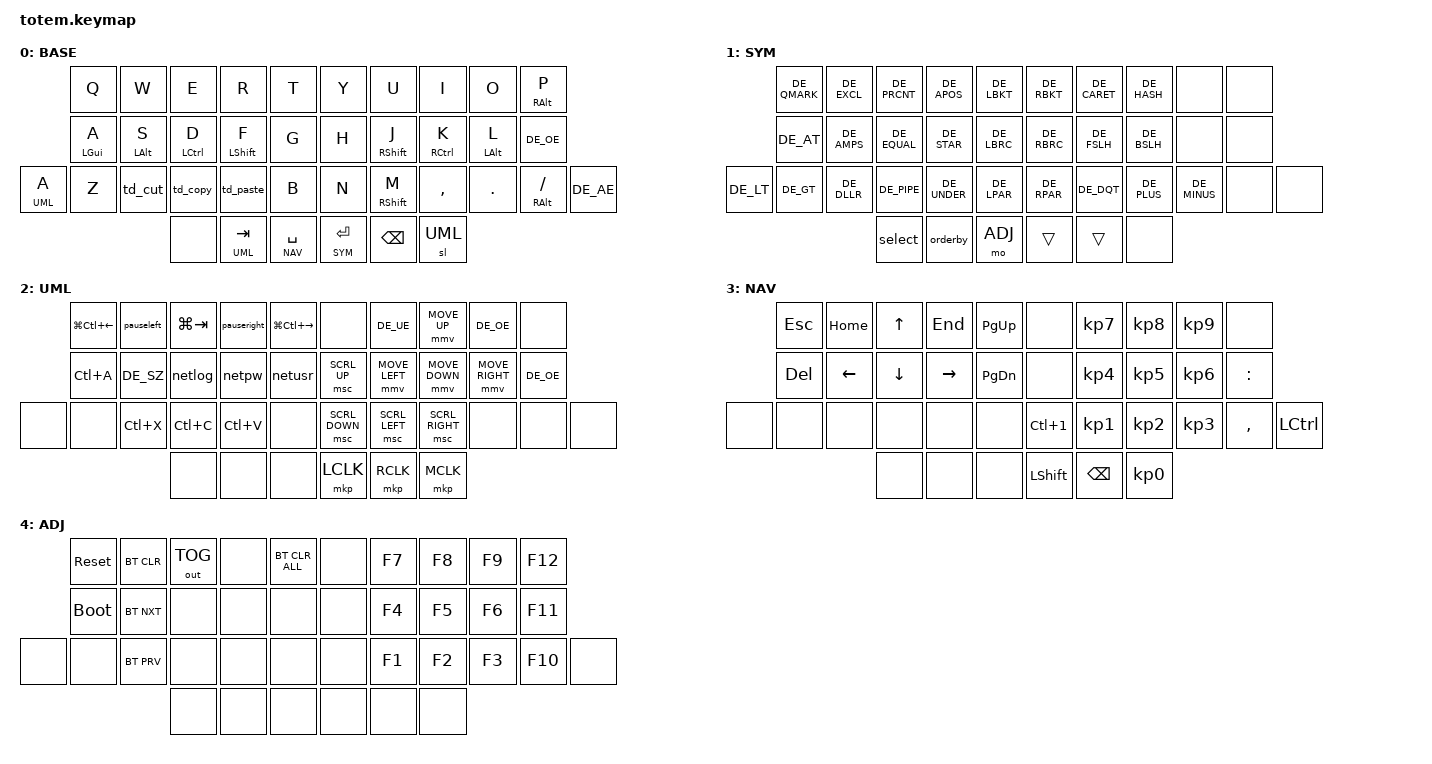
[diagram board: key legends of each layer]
//
//                                                        ▀▀▀▀▀     ▀▀▀▀▀          ▀▀█▀▀
//                                                        ▄▀▀▀▄  ▄  ▄▀▀▀▄  ▄  ▄▀▀▀▄  █  ▄▀▀▀▄
//                                                        █   █  █  █   █  █  █   █  █  █   █
//                                                         ▀▀▀   █   ▀▀▀   █   ▀▀▀   ▀   ▀▀▀
//                                                               █      ▄▄▄█▄▄▄    █   █  
//                                                               ▀      █  █  █     █▄█
//                                                             ▀▀▀▀▀    █  █  █      ▀
//                                                                      ▀  ▀  ▀
//
// ▄▄▄▄▄▄▄▄▄▄▄▄▄▄▄▄▄▄▄▄▄▄▄▄▄▄▄▄▄▄▄▄▄▄▄▄▄▄▄▄▄▄▄▄▄▄▄▄▄▄▄▄▄▄▄▄▄▄▄▄▄▄▄▄▄▄▄▄▄▄▄▄▄▄▄▄▄▄▄▄▄▄▄▄▄▄▄▄▄▄▄▄▄▄▄▄▄▄▄▄▄▄▄▄▄▄▄▄▄▄▄▄▄▄▄▄▄▄▄▄▄▄▄▄▄▄▄▄▄▄▄▄▄▄▄▄▄▄▄▄▄▄▄▄▄▄▄▄▄
       

#include <behaviors.dtsi>
#include <dt-bindings/zmk/keys.h>
#include <dt-bindings/zmk/bt.h>
#include <dt-bindings/zmk/outputs.h>
#include "keys_de.h"
#include <dt-bindings/zmk/pointing.h>

#define BASE 0
#define SYM  1
#define UML  2
#define NAV  3
#define ADJ  4


&mt {
  quick-tap-ms = <100>;
  global-quick-tap;
  flavor = "tap-preferred";
  tapping-term-ms = <170>;
};

/ {
    combos {
            compatible = "zmk,combos";

            //ESC -> Q, W
            combo_esc {
                timeout-ms = <50>;
                key-positions = <0 1>;
                bindings = <&kp ESC>;
            };

            //ENTER -> S,D,F
            combo_enter_links {
                timeout-ms = <50>;
                key-positions = <11 12 13>;
                bindings = <&kp RET>;
            };

            //ENTER -> J,K,L
            combo_enter_rechts {
                timeout-ms = <50>;
                key-positions = <16 17 18>;
                bindings = <&kp RET>;
            };

            // ; -> , und .
            combo_semicolon {
                timeout-ms = <50>;
                key-positions = <28 29>;
                bindings = <&kp LS(COMMA)>;
            };

            // BACKSPACE -> D,F
            combo_backspace_left {
                timeout-ms = <50>;
                key-positions = <12 13>;
                bindings = <&kp BSPC>;
            };

            // BACKSPACE -> J,K
            combo_backspace_right {
                timeout-ms = <50>;
                key-positions = <16 17>;
                bindings = <&kp BSPC>;
            };           
        };

    macros {
        // "select * from"
        select: select {
            label = "select";
            compatible = "zmk,behavior-macro";
            #binding-cells = <0>;
            bindings
                = <&macro_tap &kp S &kp E &kp L &kp E &kp C &kp T>
                , <&macro_tap &kp SPACE>
                , <&macro_tap &kp DE_STAR>
                , <&macro_tap &kp SPACE>
                , <&macro_tap &kp F &kp R &kp O &kp M>
                , <&macro_tap &kp SPACE>
                ;
        };

        // "order by 1 desc"
        orderby: orderby {
            label = "orderby";
            compatible = "zmk,behavior-macro";
            #binding-cells = <0>;
            bindings
                = <&macro_tap &kp O &kp R &kp D &kp E &kp R>
                , <&macro_tap &kp SPACE>
                , <&macro_tap &kp B &kp Z>
                , <&macro_tap &kp SPACE>
                , <&macro_tap &kp N1>
                , <&macro_tap &kp SPACE>
                , <&macro_tap &kp D &kp E &kp S &kp C>
                ;
        };

        // "Netwrix Tastenkuezel fuer Passwort - STRG ALT U"
        netpw: netpw {
            label = "netpw";
            compatible = "zmk,behavior-macro";
            #binding-cells = <0>;
            bindings
                = <&macro_press &kp LCTRL>
                , <&macro_press &kp LALT>
                , <&macro_tap &kp P>
                , <&macro_release &kp LCTRL>
                , <&macro_release &kp LALT> 
                ;
        };

        // "Netwrix Tastenkuezel fuer Username - STRG ALT U"
        netusr: netusr {
            label = "neturs";
            compatible = "zmk,behavior-macro";
            #binding-cells = <0>;
            bindings
                = <&macro_press &kp LCTRL>
                , <&macro_press &kp LALT>
                , <&macro_tap &kp U>
                , <&macro_release &kp LCTRL>
                , <&macro_release &kp LALT> 
                ;
        }; 

        // "Netwrix Tastenkuezel fuer gesamtes Login - STRG ALT U"
        netlog: netlog {
            label = "netlog";
            compatible = "zmk,behavior-macro";
            #binding-cells = <0>;
            bindings
                = <&macro_press &kp LCTRL>
                , <&macro_press &kp LALT>
                , <&macro_tap &kp S>
                , <&macro_release &kp LCTRL>
                , <&macro_release &kp LALT> 
                ;
        }; 
        pauseright: pauseright {
            label = "pauseright";
            compatible = "zmk,behavior-macro";
            #binding-cells = <0>;
            bindings
                = <&macro_tap &kp LC(LA(PAUSE_BREAK))>
                , <&macro_tap &kp LG(LC(RIGHT))>
                ;
        };
        pauseleft: pauseleft {
            label = "pauseleft";
            compatible = "zmk,behavior-macro";
            #binding-cells = <0>;
            bindings
                = <&macro_tap &kp LC(LA(PAUSE_BREAK))>
                , <&macro_tap &kp LG(LC(LEFT))>
                ;
        };
    };

    behaviors {
        td_copy: tap_dance_copy {
            compatible = "zmk,behavior-tap-dance";
            #binding-cells = <0>;
            tapping-term-ms = <200>; 
            bindings = <&kp C>,      
                       <&kp LC(C)>; 
        };
        td_cut: tap_dance_cut {
            compatible = "zmk,behavior-tap-dance";
            #binding-cells = <0>;
            tapping-term-ms = <200>; 
            bindings = <&kp X>,      
                       <&kp LC(X)>; 
        };
        td_paste: tap_dance_paste {
            compatible = "zmk,behavior-tap-dance";
            #binding-cells = <0>;
            tapping-term-ms = <200>;
            bindings = <&kp V>,
                       <&kp LC(V)>;
        };
    };

    // conditional_layers {
    //     compatible = "zmk,conditional-layers";
    //     tri_layer {
    //         if-layers = <NAV SYM>;
    //         then-layer = <NAV>;
    //     };
    // };

    keymap {
        compatible = "zmk,keymap";


// ▄▄▄▄▄▄▄▄▄▄▄▄▄▄▄▄▄▄▄▄▄▄▄▄▄▄▄▄▄▄▄▄▄▄▄▄▄▄▄▄▄▄▄▄▄▄▄▄▄▄▄▄▄▄▄▄▄▄▄▄▄▄▄▄▄▄▄▄▄▄▄▄▄▄▄▄▄▄▄▄▄▄▄▄▄▄▄▄▄▄▄▄▄▄▄▄▄▄▄▄▄▄▄▄▄▄▄▄▄▄▄▄▄▄▄▄▄▄▄▄▄▄▄▄▄▄▄▄▄▄▄▄▄▄▄▄▄▄▄▄▄▄▄▄▄▄▄▄▄

                base_layer {
// ┏━━━━━━━━━━━━━━━━━━━━━━━━━━━━━━━━━━━━━━━┓
label= "BASE"                              ;
// ┗━━━━━━━━━━━━━━━━━━━━━━━━━━━━━━━━━━━━━━━┛
//             ┏━━━━━━━━━━━┳━━━━━━━━━━━┳━━━━━━━━━━━┳━━━━━━━━━━━┳━━━━━━━━━━━┓   ┏━━━━━━━━━━━┳━━━━━━━━━━━┳━━━━━━━━━━━┳━━━━━━━━━━━┳━━━━━━━━━━━┓
//             ┃     Q     ┃     W     ┃     E     ┃     R     ┃     T     ┃   ┃     Z     ┃     U     ┃     I     ┃     O     ┃     P     ┃
//             ┣━━━━━━━━━━━╋━━━━━━━━━━━╋━━━━━━━━━━━╋━━━━━━━━━━━╋━━━━━━━━━━━┫   ┣━━━━━━━━━━━╋━━━━━━━━━━━╋━━━━━━━━━━━╋━━━━━━━━━━━╋━━━━━━━━━━━┫
//             ┃     A     ┃     S     ┃     D     ┃     F     ┃     G     ┃   ┃     H     ┃     J     ┃     K     ┃     L     ┃     Ö     ┃
// ┏━━━━━━━━━━━╋━━━━━━━━━━━╋━━━━━━━━━━━╋━━━━━━━━━━━╋━━━━━━━━━━━╋━━━━━━━━━━━┫   ┣━━━━━━━━━━━╋━━━━━━━━━━━╋━━━━━━━━━━━╋━━━━━━━━━━━╋━━━━━━━━━━━╋━━━━━━━━━━━┓
// ┃           ┃     Y     ┃     X     ┃     C     ┃     V     ┃     B     ┃   ┃     N     ┃     M     ┃     ,     ┃     .     ┃     -     ┃     Ä     ┃
// ┗━━━━━━━━━━━┻━━━━━━━━━━━┻━━━━━━━━━━━╋━━━━━━━━━━━╋━━━━━━━━━━━╋━━━━━━━━━━━┫   ┣━━━━━━━━━━━╋━━━━━━━━━━━╋━━━━━━━━━━━╋━━━━━━━━━━━┻━━━━━━━━━━━┻━━━━━━━━━━━┛
//                                     ┃    TAB    ┃    TAB    ┃    SPC    ┃   ┃   ENTER   ┃   BSPC    ┃   L UML   ┃
//                                     ┗━━━━━━━━━━━┻━━━━━━━━━━━┻━━━━━━━━━━━┛   ┗━━━━━━━━━━━┻━━━━━━━━━━━┻━━━━━━━━━━━┛
 bindings = <
// ╷           ╷           ╷           ╷             ╷           ╷           ╷   ╷           ╷           ╷           ╷           ╷           ╷           ╷

                &kp Q       &kp W       &kp E        &kp R        &kp T           &kp Y       &kp U        &kp I             &kp O           &mt RALT P
                &mt LGUI A  &mt LALT S  &mt LCTRL D  &mt LSHIFT F &kp G           &kp H       &mt RSHIFT J &mt RCTRL K       &mt LALT L      &kp DE_OE 
    &lt UML A   &kp Z       &td_cut     &td_copy     &td_paste    &kp B           &kp N       &mt RSHIFT M &kp COMMA         &kp DOT         &mt RALT FSLH &kp DE_AE
                                        &none        &lt UML TAB  &lt NAV SPACE   &lt SYM RET &kp BSPC     &sl UML
                        >;
                };

// ▄▄▄▄▄▄▄▄▄▄▄▄▄▄▄▄▄▄▄▄▄▄▄▄▄▄▄▄▄▄▄▄▄▄▄▄▄▄▄▄▄▄▄▄▄▄▄▄▄▄▄▄▄▄▄▄▄▄▄▄▄▄▄▄▄▄▄▄▄▄▄▄▄▄▄▄▄▄▄▄▄▄▄▄▄▄▄▄▄▄▄▄▄▄▄▄▄▄▄▄▄▄▄▄▄▄▄▄▄▄▄▄▄▄▄▄▄▄▄▄▄▄▄▄▄▄▄▄▄▄▄▄▄▄▄▄▄▄▄▄▄▄▄▄▄▄▄▄▄


                sym_layer {
// ┏━━━━━━━━━━━━━━━━━━━━━━━━━━━━━━━━━━━━━━━┓
label= "SYM"                               ;
// ┗━━━━━━━━━━━━━━━━━━━━━━━━━━━━━━━━━━━━━━━┛
//             ┏━━━━━━━━━━━┳━━━━━━━━━━━┳━━━━━━━━━━━┳━━━━━━━━━━━┳━━━━━━━━━━━┓   ┏━━━━━━━━━━━┳━━━━━━━━━━━┳━━━━━━━━━━━┳━━━━━━━━━━━┳━━━━━━━━━━━┓
//             ┃     ?     ┃     !     ┃     %     ┃     '     ┃     [     ┃   ┃     ]     ┃     ^     ┃     #     ┃           ┃           ┃
//             ┣━━━━━━━━━━━╋━━━━━━━━━━━╋━━━━━━━━━━━╋━━━━━━━━━━━╋━━━━━━━━━━━┫   ┣━━━━━━━━━━━╋━━━━━━━━━━━╋━━━━━━━━━━━╋━━━━━━━━━━━╋━━━━━━━━━━━┫
//             ┃     @     ┃     &     ┃     =     ┃     *     ┃     {     ┃   ┃     }     ┃     /     ┃     \     ┃           ┃           ┃
// ┏━━━━━━━━━━━╋━━━━━━━━━━━╋━━━━━━━━━━━╋━━━━━━━━━━━╋━━━━━━━━━━━╋━━━━━━━━━━━┫   ┣━━━━━━━━━━━╋━━━━━━━━━━━╋━━━━━━━━━━━╋━━━━━━━━━━━╋━━━━━━━━━━━╋━━━━━━━━━━━┓
// ┃     <     ┃     >     ┃     $     ┃     |     ┃     _     ┃     (     ┃   ┃     )     ┃     "     ┃     +     ┃     -     ┃           ┃           ┃
// ┗━━━━━━━━━━━┻━━━━━━━━━━━┻━━━━━━━━━━━╋━━━━━━━━━━━╋━━━━━━━━━━━╋━━━━━━━━━━━┫   ┣━━━━━━━━━━━╋━━━━━━━━━━━╋━━━━━━━━━━━╋━━━━━━━━━━━┻━━━━━━━━━━━┻━━━━━━━━━━━┛
//                                     ┃   SELECT  ┃  ORDERBY  ┃    ADJ    ┃   ┃           ┃           ┃           ┃
//                                     ┗━━━━━━━━━━━┻━━━━━━━━━━━┻━━━━━━━━━━━┛   ┗━━━━━━━━━━━┻━━━━━━━━━━━┻━━━━━━━━━━━┛
 bindings = <
// ╷           ╷           ╷           ╷            ╷            ╷           ╷   ╷           ╷           ╷           ╷           ╷           ╷           ╷

                &kp DE_QMARK &kp DE_EXCL &kp DE_PRCNT &kp DE_APOS  &kp DE_LBKT    &kp DE_RBKT   &kp DE_CARET &kp DE_HASH   &none        &none
                &kp DE_AT    &kp DE_AMPS &kp DE_EQUAL &kp DE_STAR  &kp DE_LBRC    &kp DE_RBRC   &kp DE_FSLH  &kp DE_BSLH   &none        &none
    &kp DE_LT   &kp DE_GT    &kp DE_DLLR &kp DE_PIPE  &kp DE_UNDER &kp DE_LPAR    &kp DE_RPAR   &kp DE_DQT   &kp DE_PLUS   &kp DE_MINUS &none    &none         
                                         &select      &orderby     &mo ADJ        &trans        &trans       &none      
                        >;
                };

// ▄▄▄▄▄▄▄▄▄▄▄▄▄▄▄▄▄▄▄▄▄▄▄▄▄▄▄▄▄▄▄▄▄▄▄▄▄▄▄▄▄▄▄▄▄▄▄▄▄▄▄▄▄▄▄▄▄▄▄▄▄▄▄▄▄▄▄▄▄▄▄▄▄▄▄▄▄▄▄▄▄▄▄▄▄▄▄▄▄▄▄▄▄▄▄▄▄▄▄▄▄▄▄▄▄▄▄▄▄▄▄▄▄▄▄▄▄▄▄▄▄▄▄▄▄▄▄▄▄▄▄▄▄▄▄▄▄▄▄▄▄▄▄▄▄▄▄▄▄

                uml_layer {
// ┏━━━━━━━━━━━━━━━━━━━━━━━━━━━━━━━━━━━━━━━┓
label= "UML"                               ;
// ┗━━━━━━━━━━━━━━━━━━━━━━━━━━━━━━━━━━━━━━━┛
//             ┏━━━━━━━━━━━┳━━━━━━━━━━━┳━━━━━━━━━━━┳━━━━━━━━━━━┳━━━━━━━━━━━┓            ┏━━━━━━━━━━━┳━━━━━━━━━━━┳━━━━━━━━━━━┳━━━━━━━━━━━┳━━━━━━━━━━━┓
//             ┃WIN STRG L ┃WIN L SPEZ ┃ WIN TAB   ┃ WIN R SPEZ┃ WIN STRG R┃            ┃           ┃     ü     ┃           ┃     ö     ┃           ┃
//             ┣━━━━━━━━━━━╋━━━━━━━━━━━╋━━━━━━━━━━━╋━━━━━━━━━━━╋━━━━━━━━━━━┫            ┣━━━━━━━━━━━╋━━━━━━━━━━━╋━━━━━━━━━━━╋━━━━━━━━━━━╋━━━━━━━━━━━┫
//             ┃     A     ┃     SS    ┃   netlog  ┃   netpw   ┃   neturs  ┃            ┃           ┃           ┃           ┃           ┃     ö     ┃
// ┏━━━━━━━━━━━╋━━━━━━━━━━━╋━━━━━━━━━━━╋━━━━━━━━━━━╋━━━━━━━━━━━╋━━━━━━━━━━━┫            ┣━━━━━━━━━━━╋━━━━━━━━━━━╋━━━━━━━━━━━╋━━━━━━━━━━━╋━━━━━━━━━━━╋━━━━━━━━━━━┓
// ┃           ┃           ┃    cut    ┃    copy   ┃   paste   ┃           ┃            ┃           ┃           ┃           ┃           ┃           ┃           ┃
// ┗━━━━━━━━━━━┻━━━━━━━━━━━┻━━━━━━━━━━━╋━━━━━━━━━━━╋━━━━━━━━━━━╋━━━━━━━━━━━┫            ┣━━━━━━━━━━━╋━━━━━━━━━━━╋━━━━━━━━━━━╋━━━━━━━━━━━┻━━━━━━━━━━━┻━━━━━━━━━━━┛
//                                     ┃           ┃           ┃           ┃            ┃           ┃           ┃           ┃
//                                     ┗━━━━━━━━━━━┻━━━━━━━━━━━┻━━━━━━━━━━━┛            ┗━━━━━━━━━━━┻━━━━━━━━━━━┻━━━━━━━━━━━┛
 bindings = <           
// ╷           ╷           ╷           ╷           ╷           ╷           ╷   ╷           ╷           ╷           ╷           ╷           ╷           ╷

                &kp LG(LC(LEFT)) &pauseleft &kp LG(TAB) &pauseright &kp LG(LC(RIGHT))   &none           &kp DE_UE        &mmv MOVE_UP    &kp DE_OE          &none       
                &kp LC(A)        &kp DE_SZ  &netlog     &netpw      &netusr             &msc SCRL_UP    &mmv MOVE_LEFT   &mmv MOVE_DOWN  &mmv MOVE_RIGHT    &kp DE_OE 
    &none       &none            &kp LC(X)  &kp LC(C)   &kp LC(V)   &none               &msc SCRL_DOWN  &msc SCRL_LEFT   &msc SCRL_RIGHT &none              &none       &none         
                                            &none       &none       &none               &mkp LCLK       &mkp RCLK        &mkp MCLK  
                        >;
                };

// ▄▄▄▄▄▄▄▄▄▄▄▄▄▄▄▄▄▄▄▄▄▄▄▄▄▄▄▄▄▄▄▄▄▄▄▄▄▄▄▄▄▄▄▄▄▄▄▄▄▄▄▄▄▄▄▄▄▄▄▄▄▄▄▄▄▄▄▄▄▄▄▄▄▄▄▄▄▄▄▄▄▄▄▄▄▄▄▄▄▄▄▄▄▄▄▄▄▄▄▄▄▄▄▄▄▄▄▄▄▄▄▄▄▄▄▄▄▄▄▄▄▄▄▄▄▄▄▄▄▄▄▄▄▄▄▄▄▄▄▄▄▄▄▄▄▄▄▄▄


                nav_layer {
// ┏━━━━━━━━━━━━━━━━━━━━━━━━━━━━━━━━━━━━━━━┓
label= "NAV"                              ;
// ┗━━━━━━━━━━━━━━━━━━━━━━━━━━━━━━━━━━━━━━━┛
//             ┏━━━━━━━━━━━┳━━━━━━━━━━━┳━━━━━━━━━━━┳━━━━━━━━━━━┳━━━━━━━━━━━┓   ┏━━━━━━━━━━━┳━━━━━━━━━━━┳━━━━━━━━━━━┳━━━━━━━━━━━┳━━━━━━━━━━━┓
//             ┃    ESC    ┃   POS1    ┃     UP    ┃    END    ┃   PG UP   ┃   ┃           ┃     7     ┃     8     ┃     9     ┃           ┃
//             ┣━━━━━━━━━━━╋━━━━━━━━━━━╋━━━━━━━━━━━╋━━━━━━━━━━━╋━━━━━━━━━━━┫   ┣━━━━━━━━━━━╋━━━━━━━━━━━╋━━━━━━━━━━━╋━━━━━━━━━━━╋━━━━━━━━━━━┫
//             ┃    DEL    ┃   LEFT    ┃    DOWN   ┃   RIGHT   ┃  PG DOWN  ┃   ┃           ┃     4     ┃     5     ┃     6     ┃    :      ┃
// ┏━━━━━━━━━━━╋━━━━━━━━━━━╋━━━━━━━━━━━╋━━━━━━━━━━━╋━━━━━━━━━━━╋━━━━━━━━━━━┫   ┣━━━━━━━━━━━╋━━━━━━━━━━━╋━━━━━━━━━━━╋━━━━━━━━━━━╋━━━━━━━━━━━╋━━━━━━━━━━━┓
// ┃           ┃           ┃           ┃           ┃   .       ┃           ┃   ┃   STRG+1  ┃     1     ┃     2     ┃     3     ┃    ,      ┃   STRG    ┃
// ┗━━━━━━━━━━━┻━━━━━━━━━━━┻━━━━━━━━━━━╋━━━━━━━━━━━╋━━━━━━━━━━━╋━━━━━━━━━━━┫   ┣━━━━━━━━━━━╋━━━━━━━━━━━╋━━━━━━━━━━━╋━━━━━━━━━━━┻━━━━━━━━━━━┻━━━━━━━━━━━┛
//                                     ┃           ┃           ┃           ┃   ┃   SHIFT   ┃   BSPC    ┃     0     ┃
//                                     ┗━━━━━━━━━━━┻━━━━━━━━━━━┻━━━━━━━━━━━┛   ┗━━━━━━━━━━━┻━━━━━━━━━━━┻━━━━━━━━━━━┛
 bindings = <
// ╷           ╷           ╷           ╷           ╷           ╷           ╷   ╷           ╷           ╷           ╷           ╷           ╷           ╷

                &kp ESC    &kp HOME     &kp UP           &kp END           &kp PG_UP       &none           &kp KP_N7   &kp KP_N8   &kp KP_N9   &none
                &kp DEL    &kp LEFT     &kp DOWN         &kp RIGHT         &kp PG_DN       &none           &kp KP_N4   &kp KP_N5   &kp KP_N6   &kp COLON
    &none       &none      &none        &none            &none             &none           &kp LC(N1)      &kp KP_N1   &kp KP_N2   &kp KP_N3   &kp COMMA  &kp LCTRL    
                                        &none            &none             &none           &kp LSHIFT      &kp BSPC    &kp KP_N0     
                        >;
                };

// ▄▄▄▄▄▄▄▄▄▄▄▄▄▄▄▄▄▄▄▄▄▄▄▄▄▄▄▄▄▄▄▄▄▄▄▄▄▄▄▄▄▄▄▄▄▄▄▄▄▄▄▄▄▄▄▄▄▄▄▄▄▄▄▄▄▄▄▄▄▄▄▄▄▄▄▄▄▄▄▄▄▄▄▄▄▄▄▄▄▄▄▄▄▄▄▄▄▄▄▄▄▄▄▄▄▄▄▄▄▄▄▄▄▄▄▄▄▄▄▄▄▄▄▄▄▄▄▄▄▄▄▄▄▄▄▄▄▄▄▄▄▄▄▄▄▄▄▄▄


                adjust_layer {
// ┏━━━━━━━━━━━━━━━━━━━━━━━━━━━━━━━━━━━━━━━┓
label= "ADJ"                               ;
// ┗━━━━━━━━━━━━━━━━━━━━━━━━━━━━━━━━━━━━━━━┛
//             ┏━━━━━━━━━━━┳━━━━━━━━━━━┳━━━━━━━━━━━┳━━━━━━━━━━━┳━━━━━━━━━━━┓   ┏━━━━━━━━━━━┳━━━━━━━━━━━┳━━━━━━━━━━━┳━━━━━━━━━━━┳━━━━━━━━━━━┓
//             ┃   RESET   ┃ BT CLEAR  ┃  OUT TOG  ┃           ┃BT_CLR_ALL ┃   ┃           ┃    F7     ┃    F8     ┃    F9     ┃    F12    ┃
//             ┣━━━━━━━━━━━╋━━━━━━━━━━━╋━━━━━━━━━━━╋━━━━━━━━━━━╋━━━━━━━━━━━┫   ┣━━━━━━━━━━━╋━━━━━━━━━━━╋━━━━━━━━━━━╋━━━━━━━━━━━╋━━━━━━━━━━━┫
//             ┃ BOOTLOAD  ┃ BT NEXT   ┃           ┃           ┃           ┃   ┃           ┃    F4     ┃    F5     ┃    F6     ┃    F11    ┃
// ┏━━━━━━━━━━━╋━━━━━━━━━━━╋━━━━━━━━━━━╋━━━━━━━━━━━╋━━━━━━━━━━━╋━━━━━━━━━━━┫   ┣━━━━━━━━━━━╋━━━━━━━━━━━╋━━━━━━━━━━━╋━━━━━━━━━━━╋━━━━━━━━━━━╋━━━━━━━━━━━┓
// ┃           ┃           ┃ BT PREV   ┃           ┃           ┃           ┃   ┃           ┃    F1     ┃    F2     ┃    F3     ┃    F10    ┃           ┃
// ┗━━━━━━━━━━━┻━━━━━━━━━━━┻━━━━━━━━━━━╋━━━━━━━━━━━╋━━━━━━━━━━━╋━━━━━━━━━━━┫   ┣━━━━━━━━━━━╋━━━━━━━━━━━╋━━━━━━━━━━━╋━━━━━━━━━━━┻━━━━━━━━━━━┻━━━━━━━━━━━┛
//                                     ┃           ┃           ┃           ┃   ┃           ┃           ┃           ┃
//                                     ┗━━━━━━━━━━━┻━━━━━━━━━━━┻━━━━━━━━━━━┛   ┗━━━━━━━━━━━┻━━━━━━━━━━━┻━━━━━━━━━━━┛
 bindings = <
// ╷           ╷           ╷           ╷           ╷           ╷           ╷   ╷           ╷           ╷           ╷           ╷           ╷           ╷

                &sys_reset  &bt BT_CLR &out OUT_TOG &none      &bt BT_CLR_ALL  &none      &kp F7      &kp F8      &kp F9      &kp F12
                &bootloader &bt BT_NXT  &none      &none      &none          &none      &kp F4      &kp F5      &kp F6      &kp F11  
    &none      &none      &bt BT_PRV  &none      &none      &none          &none      &kp F1      &kp F2      &kp F3      &kp F10     &none         
                                        &none      &none      &none          &none      &none      &none      
                        >;
                };
        };
};
